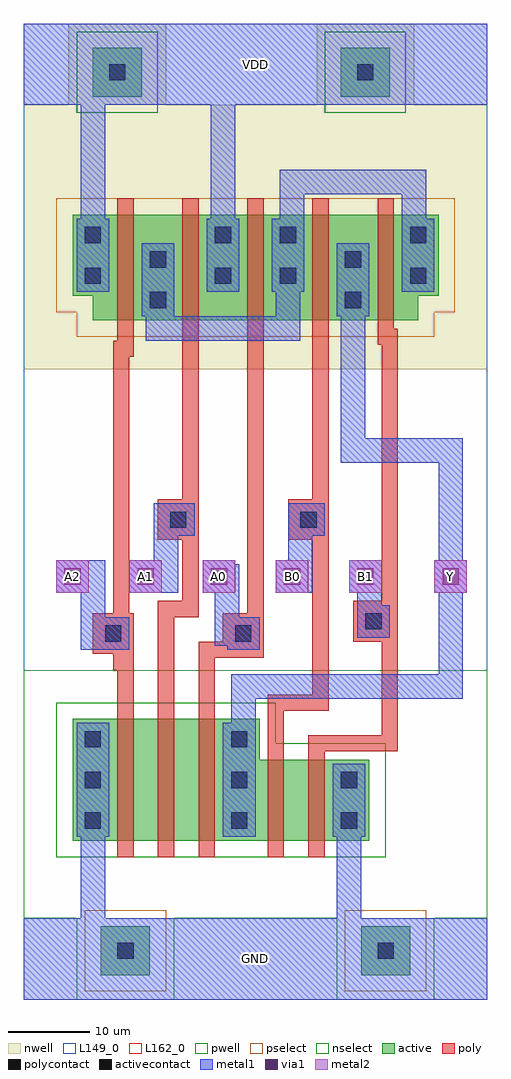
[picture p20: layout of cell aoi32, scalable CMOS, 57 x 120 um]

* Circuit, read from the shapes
.subckt aoi32 A0 A1 A2 B0 B1 GND VDD Y
M1 n1 A2 GND GND nfet w=15u l=2u
M2 n2 A1 n1 GND nfet w=15u l=2u
M3 Y A0 n2 GND nfet w=15u l=2u
M4 n3 B0 Y GND nfet w=10u l=2u
M5 GND B1 n3 GND nfet w=10u l=2u
M6 n4 A2 VDD VDD pfet w=13u l=2u
M7 VDD A1 n4 VDD pfet w=13u l=2u
M8 n4 A0 VDD VDD pfet w=13u l=2u
M9 Y B0 n4 VDD pfet w=13u l=2u
M10 n4 B1 Y VDD pfet w=13u l=2u
.ends

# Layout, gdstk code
from math import pi, radians
import gdstk
lib = gdstk.Library(unit=1e-6, precision=1e-09)
def R(c, l, rs):  # rectangles x0, y0, x1, y1
    for r in rs: c.add(gdstk.rectangle(r[:2], r[2:], *l))
def A(c, l, x, y, w, h, nx, ny, dx, dy):  # array of equal rectangles
    R(c, l, [(x+i*dx, y+j*dy, x+i*dx+w, y+j*dy+h) for i in range(nx) for j in range(ny)])
def P(c, l, *ps):  # polygons
    for p in ps: c.add(gdstk.Polygon(p, *l))
pwell = (41, 0)
nwell = (42, 0)
active = (43, 0)
pselect = (44, 0)
nselect = (45, 0)
poly = (46, 0)
polycontact = (47, 0)
activecontact = (48, 0)
metal1 = (49, 0)
via1 = (50, 0)
metal2 = (51, 0)
L149_0 = (149, 0)
L162_0 = (162, 0)

pwell_contact = lib.new_cell('pwell_contact')
R(pwell_contact, pwell, [(-6,-6,6,5)])
R(pwell_contact, active, [(-3,-3,3,3)])
R(pwell_contact, pselect, [(-5,-5,5,5)])
R(pwell_contact, activecontact, [(-1,-1,1,1)])

nwell_contact = lib.new_cell('nwell_contact')
R(nwell_contact, nwell, [(-6,-5,6,6)])
R(nwell_contact, active, [(-3,-3,3,3)])
R(nwell_contact, nselect, [(-5,-5,5,5)])
R(nwell_contact, activecontact, [(-1,-1,1,1)])

via = lib.new_cell('via')
R(via, metal1, [(-2,-2,2,2)])
R(via, via1, [(-1,-1,1,1)])
R(via, metal2, [(-2,-2,2,2)])

aoi32 = lib.new_cell('aoi32')
R(aoi32, pwell, [(0,10,57,20), (0,10,57,40.5)])
P(aoi32, pwell, [(0,13.5),(48.5,13.5),(48.5,35.5),(35,35.5),(35,40.5),(0,40.5)])
R(aoi32, nwell, [(0,77.5,57,110), (0,95,57,110)])
P(aoi32, nwell, [(54.5,77.5),(54.5,80.5),(57,80.5),(57,102.5),(0,102.5),(0,80.5),(2.5,80.5),(2.5,77.5)])
P(aoi32, active, [(6,19.5),(42.5,19.5),(42.5,29.5),(29,29.5),(29,34.5),(6,34.5)],
  [(48.5,83.5),(48.5,86.5),(51,86.5),(51,96.5),(6,96.5),(6,86.5),(8.5,86.5),(8.5,83.5)])
P(aoi32, pselect, [(50.5,81.5),(50.5,84.5),(53,84.5),(53,98.5),(4,98.5),(4,84.5),(6.5,84.5),(6.5,81.5)])
P(aoi32, nselect, [(4,17.5),(44.5,17.5),(44.5,31.5),(31,31.5),(31,36.5),(4,36.5)])
A(aoi32, poly, 11.5, 17.5, 2, 2, 3, 2, 5, 17)
A(aoi32, poly, 11.5, 19.5, 2, 15, 3, 1, 5, 0)
A(aoi32, poly, 11.5, 81.5, 2, 2, 5, 2, 8, 15)
A(aoi32, poly, 11.5, 83.5, 2, 13, 5, 1, 8, 0)
R(aoi32, poly, [(30,17.5,32,19.5), (35,17.5,37,19.5), (30,19.5,32,29.5), (35,19.5,37,29.5), (30,29.5,32,31.5), (35,29.5,37,31.5), (8.5,42.5,13.5,47.5), (24.5,42.5,29.5,47.5), (40.5,44,45.5,49), (16.5,56.5,21.5,61.5), (32.5,56.5,37.5,61.5)])
R(aoi32, polycontact, [(10,44,12,46), (26,44,28,46), (42,45.5,44,47.5), (18,58,20,60), (34,58,36,60)])
A(aoi32, activecontact, 7.5, 21, 2, 2, 1, 3, 0, 5)
A(aoi32, activecontact, 25.5, 21, 2, 2, 1, 3, 0, 5)
R(aoi32, activecontact, [(39,21,41,23), (39,26,41,28), (15.5,85,17.5,87), (39.5,85,41.5,87), (7.5,88,9.5,90), (23.5,88,25.5,90), (31.5,88,33.5,90), (47.5,88,49.5,90), (15.5,90,17.5,92), (39.5,90,41.5,92), (7.5,93,9.5,95), (23.5,93,25.5,95), (31.5,93,33.5,95), (47.5,93,49.5,95)])
R(aoi32, metal1, [(0,0,57,10), (0,0,57,10), (6.5,20,10.5,34), (24.5,20,28.5,34), (38,20,42,29), (9,43,13,47), (25,43,29,47), (41,44.5,45,48.5), (17,57,21,61), (33,57,37,61), (14.5,84,18.5,93), (38.5,84,42.5,93), (6.5,87,10.5,96), (22.5,87,26.5,96), (30.5,87,34.5,96), (46.5,87,50.5,96), (0,110,57,120), (0,110,57,120)])
A(aoi32, metal2, 4, 50, 4, 4, 5, 1, 9, 0)
R(aoi32, metal2, [(50.5,50,54.5,54)])
R(aoi32, L149_0, [(0,0,57,10), (0,0,57,10), (0,0,57,120), (9,43,13,47), (25,43,29,47), (41,44.5,45,48.5), (17,57,21,61), (33,57,37,61), (0,110,57,120), (0,110,57,120)])
A(aoi32, L162_0, 4, 50, 4, 4, 5, 1, 9, 0)
R(aoi32, L162_0, [(50.5,50,54.5,54)])
aoi32.add(gdstk.FlexPath([(48,96),(48,100.5),(33,100.5),(33,96)], 3, ends="flush", simple_path=True, layer=149, datatype=0))  # L149_0
aoi32.add(gdstk.FlexPath([(8.5,96),(8.5,110)], 3, ends="flush", simple_path=True, layer=149, datatype=0))  # L149_0
aoi32.add(gdstk.FlexPath([(34,61),(34,50)], 3, ends="flush", simple_path=True, layer=149, datatype=0))  # L149_0
aoi32.add(gdstk.FlexPath([(40,20),(40,10)], 3, ends="flush", simple_path=True, layer=149, datatype=0))  # L149_0
aoi32.add(gdstk.FlexPath([(8.5,20),(8.5,10)], 3, ends="flush", simple_path=True, layer=149, datatype=0))  # L149_0
aoi32.add(gdstk.FlexPath([(24.5,96),(24.5,110)], 3, ends="flush", simple_path=True, layer=149, datatype=0))  # L149_0
aoi32.add(gdstk.FlexPath([(40.5,84),(40.5,67.5),(52.5,67.5),(52.5,38.5),(27,38.5),(27,34)], 3, ends="flush", simple_path=True, layer=149, datatype=0))  # L149_0
aoi32.add(gdstk.FlexPath([(17.5,61),(17.5,50)], 3, ends="flush", simple_path=True, layer=149, datatype=0))  # L149_0
aoi32.add(gdstk.FlexPath([(8.5,43),(8.5,54)], 3, ends="flush", simple_path=True, layer=149, datatype=0))  # L149_0
aoi32.add(gdstk.FlexPath([(28.5,45),(25,45),(25,53.5)], 3, ends="flush", simple_path=True, layer=149, datatype=0))  # L149_0
aoi32.add(gdstk.FlexPath([(32.5,87),(32.5,82.5),(16.5,82.5),(16.5,84)], 3, ends="flush", simple_path=True, layer=149, datatype=0))  # L149_0
aoi32.add(gdstk.FlexPath([(42.5,44.5),(42.5,54)], 3, ends="flush", simple_path=True, layer=149, datatype=0))  # L149_0
aoi32.add(gdstk.FlexPath([(48,96),(48,100.5),(33,100.5),(33,96)], 3, ends="flush", simple_path=True, layer=49, datatype=0))  # metal1
aoi32.add(gdstk.FlexPath([(8.5,96),(8.5,110)], 3, ends="flush", simple_path=True, layer=49, datatype=0))  # metal1
aoi32.add(gdstk.FlexPath([(34,61),(34,50)], 3, ends="flush", simple_path=True, layer=49, datatype=0))  # metal1
aoi32.add(gdstk.FlexPath([(40,20),(40,10)], 3, ends="flush", simple_path=True, layer=49, datatype=0))  # metal1
aoi32.add(gdstk.FlexPath([(8.5,20),(8.5,10)], 3, ends="flush", simple_path=True, layer=49, datatype=0))  # metal1
aoi32.add(gdstk.FlexPath([(24.5,96),(24.5,110)], 3, ends="flush", simple_path=True, layer=49, datatype=0))  # metal1
aoi32.add(gdstk.FlexPath([(40.5,84),(40.5,67.5),(52.5,67.5),(52.5,38.5),(27,38.5),(27,34)], 3, ends="flush", simple_path=True, layer=49, datatype=0))  # metal1
aoi32.add(gdstk.FlexPath([(17.5,61),(17.5,50)], 3, ends="flush", simple_path=True, layer=49, datatype=0))  # metal1
aoi32.add(gdstk.FlexPath([(8.5,43),(8.5,54)], 3, ends="flush", simple_path=True, layer=49, datatype=0))  # metal1
aoi32.add(gdstk.FlexPath([(28.5,45),(25,45),(25,53.5)], 3, ends="flush", simple_path=True, layer=49, datatype=0))  # metal1
aoi32.add(gdstk.FlexPath([(32.5,87),(32.5,82.5),(16.5,82.5),(16.5,84)], 3, ends="flush", simple_path=True, layer=49, datatype=0))  # metal1
aoi32.add(gdstk.FlexPath([(42.5,44.5),(42.5,54)], 3, ends="flush", simple_path=True, layer=49, datatype=0))  # metal1
aoi32.add(gdstk.FlexPath([(31,31.5),(31,36.5),(36.5,36.5),(36.5,81.5)], 2, ends="flush", simple_path=True, layer=46, datatype=0))  # poly
aoi32.add(gdstk.FlexPath([(22.5,36.5),(22.5,43),(28.5,43),(28.5,81.5)], 2, ends="flush", simple_path=True, layer=46, datatype=0))  # poly
aoi32.add(gdstk.FlexPath([(17.5,36.5),(17.5,48),(20.5,48),(20.5,81.5)], 2, ends="flush", simple_path=True, layer=46, datatype=0))  # poly
aoi32.add(gdstk.FlexPath([(35,31.5),(45,31.5),(45,81.5),(43.5,81.5)], 2, ends="flush", simple_path=True, layer=46, datatype=0))  # poly
aoi32.add(gdstk.FlexPath([(12.5,81.5),(12.5,80),(12,80),(12,41.5),(12.5,41.5),(12.5,36.5)], 2, ends="flush", simple_path=True, layer=46, datatype=0))  # poly
aoi32.add(gdstk.Reference(pwell_contact, (44.5,6), rotation=pi, x_reflection=True))
aoi32.add(gdstk.Reference(pwell_contact, (12.5,6), rotation=pi, x_reflection=True))
aoi32.add(gdstk.Reference(nwell_contact, (42,114), rotation=pi, x_reflection=True))
aoi32.add(gdstk.Reference(nwell_contact, (11.5,114), rotation=pi, x_reflection=True))
aoi32.add(gdstk.Reference(via, (15,52)))
aoi32.add(gdstk.Reference(via, (42,52)))
aoi32.add(gdstk.Reference(via, (33,52)))
aoi32.add(gdstk.Reference(via, (24,52)))
aoi32.add(gdstk.Reference(via, (52.5,52)))
aoi32.add(gdstk.Reference(via, (6,52)))
aoi32.add(gdstk.Label('B0', (33,52), layer=3, texttype=0))
aoi32.add(gdstk.Label('B1', (42,52), layer=3, texttype=0))
aoi32.add(gdstk.Label('A2', (6,52), layer=3, texttype=0))
aoi32.add(gdstk.Label('A1', (15,52), layer=3, texttype=0))
aoi32.add(gdstk.Label('A0', (24,52), layer=3, texttype=0))
aoi32.add(gdstk.Label('Y', (52.5,52), layer=3, texttype=0))
aoi32.add(gdstk.Label('GND', (28.5,5), layer=2, texttype=0))
aoi32.add(gdstk.Label('VDD', (28.5,115), layer=2, texttype=0))

lib.write_gds('aoi32.gds')
